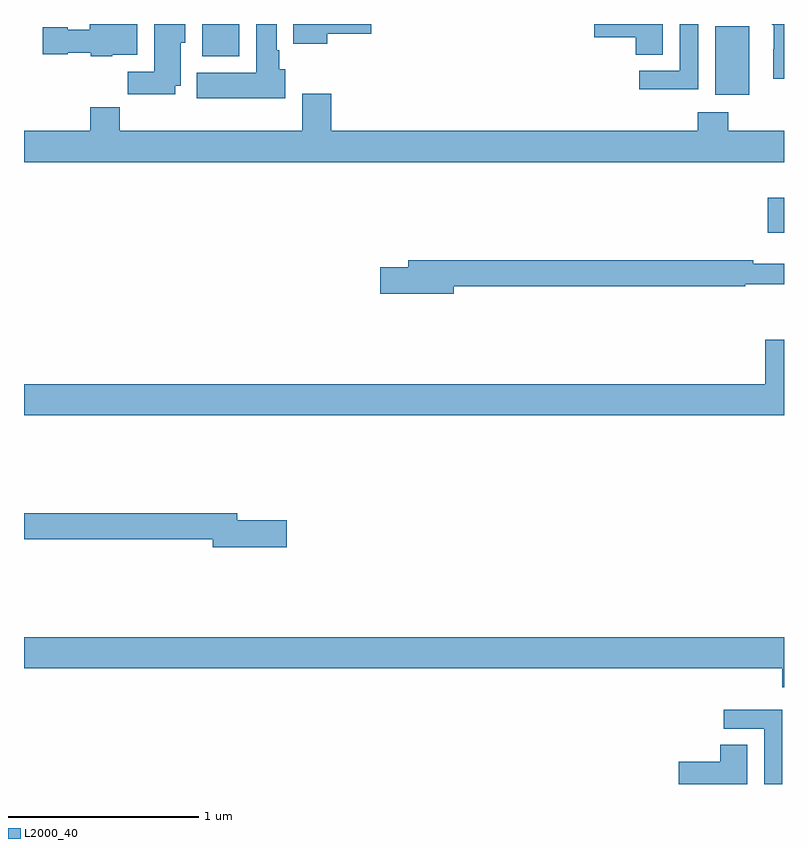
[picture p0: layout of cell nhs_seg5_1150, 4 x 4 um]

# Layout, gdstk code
import gdstk
lib = gdstk.Library(unit=1e-6, precision=1e-09)
def R(c, l, rs):  # rectangles x0, y0, x1, y1
    for r in rs: c.add(gdstk.rectangle(r[:2], r[2:], *l))
def P(c, l, *ps):  # polygons
    for p in ps: c.add(gdstk.Polygon(p, *l))
L2000_40 = (2000, 40)

nhs_seg5_1150 = lib.new_cell('nhs_seg5_1150')
R(nhs_seg5_1150, L2000_40, [(184.915,877.701,185,877.885), (184.637,878.426,184.816,878.787), (181.937,878.63,182.134,878.799)])
P(nhs_seg5_1150, L2000_40, [(184.363,878.799),(184.002,878.799),(184.002,878.729),(184.22,878.729),(184.22,878.638),(184.363,878.638)],
  [(182.374,878.562),(182.344,878.562),(182.344,878.662),(182.329,878.662),(182.329,878.799),(182.222,878.799),(182.222,878.542),(181.91,878.542),(181.91,878.408),(182.374,878.408)],
  [(182.596,878.747),(182.827,878.747),(182.827,878.799),(182.417,878.799),(182.417,878.696),(182.596,878.696)],
  [(181.464,878.636),(181.597,878.636),(181.597,878.799),(181.346,878.799),(181.346,878.77),(181.23,878.77),(181.23,878.783),(181.098,878.783),(181.098,878.641),(181.23,878.641),(181.23,878.648),(181.35,878.648),(181.35,878.63),(181.464,878.63)],
  [(181.795,878.474),(181.825,878.474),(181.825,878.7),(181.849,878.7),(181.849,878.799),(181.685,878.799),(181.685,878.548),(181.546,878.548),(181.546,878.43),(181.795,878.43)],
  [(184.548,878.799),(184.452,878.799),(184.452,878.553),(184.239,878.553),(184.239,878.455),(184.548,878.455)],
  [(185,878.799),(184.936,878.799),(184.946,878.789),(184.946,878.666),(184.944,878.666),(184.944,878.512),(185,878.512)],
  [(185,878.236),(184.707,878.236),(184.707,878.335),(184.547,878.335),(184.547,878.236),(182.618,878.236),(182.618,878.431),(182.465,878.431),(182.465,878.236),(181.505,878.236),(181.505,878.36),(181.349,878.36),(181.349,878.236),(181,878.236),(181,878.072),(185,878.072)],
  [(183.262,877.42),(184.797,877.42),(184.797,877.428),(185,877.428),(185,877.537),(184.838,877.537),(184.838,877.556),(183.023,877.556),(183.023,877.52),(182.874,877.52),(182.874,877.378),(183.262,877.378)],
  [(185,877.138),(184.901,877.138),(184.901,876.904),(181,876.904),(181,876.74),(185,876.74)],
  [(182.383,876.188),(182.122,876.188),(182.122,876.224),(181,876.224),(181,876.088),(181.994,876.088),(181.994,876.046),(182.383,876.046)],
  [(185,875.572),(181,875.572),(181,875.408),(184.991,875.408),(184.991,875.309),(185,875.309)],
  [(184.992,875.19),(184.683,875.19),(184.683,875.091),(184.896,875.091),(184.896,874.799),(184.992,874.799)],
  [(184.807,875.006),(184.664,875.006),(184.664,874.916),(184.446,874.916),(184.446,874.799),(184.807,874.799)])

lib.write_gds('nhs_seg5_1150.gds')
